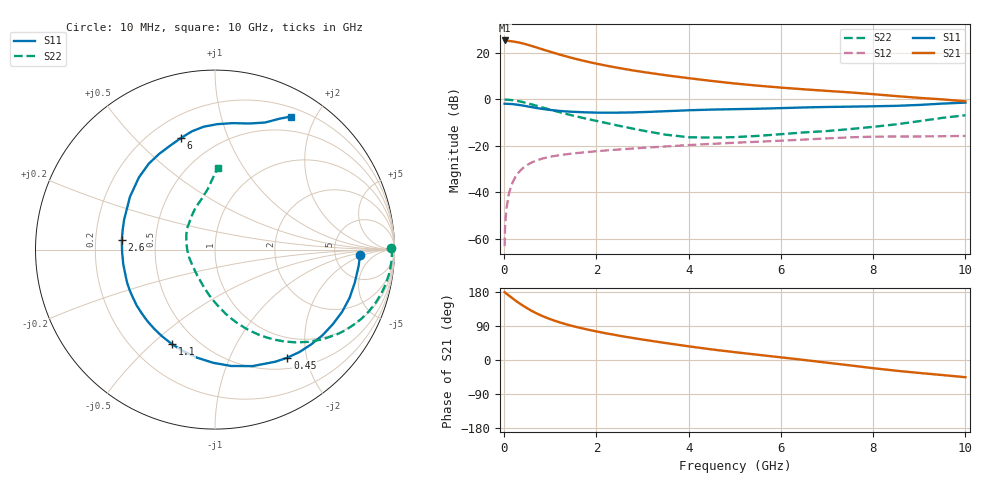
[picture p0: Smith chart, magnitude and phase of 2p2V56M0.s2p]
! (c) 2009  Infineon Technologies AG, Munich
! Infineon Technologies  Discrete & RF Semiconductors
! BFP420
! VCE =  2.5 V,  IC =  6.0 mA
! Common Emitter S-Parameters:  Nov 2009
# GHz  S  MA  R  50
!  f  S11  S21  S12  S22
! GHz  MAG  ANG  MAG  ANG  MAG  ANG  MAG  ANG
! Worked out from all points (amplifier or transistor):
!   46 points, 10 MHz to 10 GHz, reference 50 ohm
!   highest |S21| = 25.3 dB at 10 MHz (marker M1)
!   |S21| within 3 dB of that: start of sweep to 700.9 MHz
!   unconditionally stable (mu >= 1): 2.822 GHz to end of sweep
!   at 300 MHz: K = 0.12, MSG = 28.2 dB, |S12| = -31.8 dB
!   at 1.7 GHz: K = 0.65, MSG = 19.8 dB, |S12| = -22.8 dB
!   at 10 GHz: K = 1.11, MAG = 5.4 dB, |S12| = -15.7 dB
!   lowest NFmin = 0.70 dB at 900 MHz
!   S11 on the Smith chart (normalised r, x): 10 MHz: 9.06, -1.53; 450 MHz: 0.66, -1.68; 1.1 GHz: 0.37, -0.58; 2.6 GHz: 0.31, +0.05; 6 GHz: 0.32, +0.69; 10 GHz: 0.31, +1.68
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0.01  0.8063 -2.1  18.5 179.1  0.0007 88.0  0.9822 0.4
0.02  0.8084 -2.6  18.05 178.1  0.0019 86.1  0.9864 -1.5
0.05  0.8052 -6.6  18.07 175.0  0.0045 85.5  0.9855 -3.7
0.15  0.7967 -19.7  17.84 165.7  0.0136 79.8  0.9709 -11.4
0.25  0.777 -32.4  17.2 156.5  0.0219 73.8  0.9414 -18.6
0.35  0.7521 -44.7  16.45 148.1  0.0295 68.1  0.9008 -25.5
0.45  0.7246 -56.2  15.53 140.2  0.0361 62.8  0.8542 -31.7
0.6  0.6818 -72.2  14.06 129.5  0.0442 56.1  0.7797 -39.9
0.7  0.6546 -82.1  13.11 123.2  0.0487 52.4  0.7309 -44.7
0.9  0.6104 -99.4  11.35 112.4  0.0556 46.5  0.642 -52.9
1.1  0.5786 -114.5  9.871 103.5  0.061 42.2  0.566 -59.7
1.4  0.5479 -133.7  8.13 92.3  0.0671 37.5  0.4734 -68.5
1.7  0.5299 -149.6  6.853 83.3  0.0722 34.3  0.4019 -75.9
2.2  0.5176 -171.1  5.352 70.6  0.0798 30.3  0.3128 -87.1
2.6  0.5219 174.1  4.524 61.8  0.0853 27.7  0.2572 -97.0
3.5  0.5577 148.2  3.311 44.8  0.0974 22.7  0.1746 -124.7
4.5  0.6045 127.6  2.494 27.9  0.1108 16.9  0.1509 -163.8
5.5  0.6303 113.6  1.974 13.8  0.1231 11.2  0.1643 166.1
6  0.6498 107.0  1.795 7.0  0.1295 8.4  0.1789 153.5
7  0.6877 95.2  1.524 -7.1  0.145 1.5  0.2089 133.0
8.5  0.7276 74.9  1.177 -28.3  0.1593 -12.8  0.2912 105.0
10  0.8536 60.3  0.908 -45.4  0.1642 -22.2  0.4563 88.1
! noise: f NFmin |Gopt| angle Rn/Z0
0.9  0.7  0.16  29  0.14
1.8  1.08  0.06  113  0.12
2.4  1.17  0.11  132  0.13
3  1.26  0.17  176  0.11
4  1.43  0.31  -139  0.13
5  1.82  0.38  -115  0.24
6  2.3  0.43  -99  0.37
